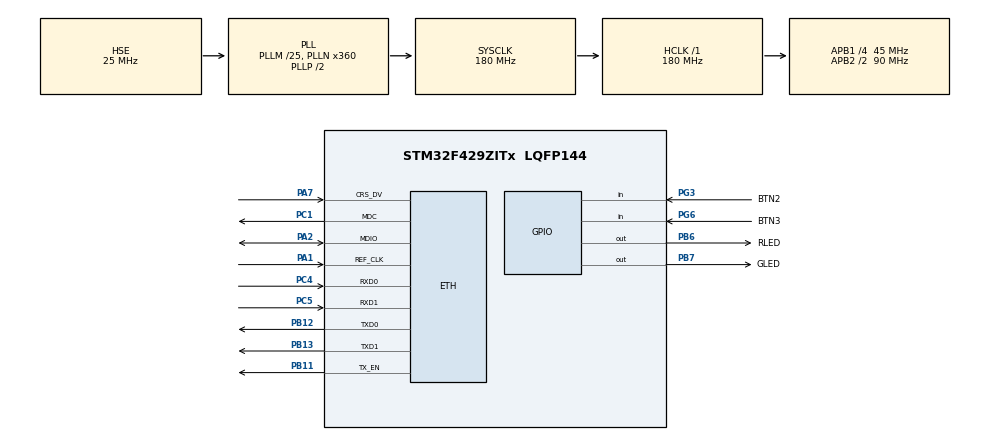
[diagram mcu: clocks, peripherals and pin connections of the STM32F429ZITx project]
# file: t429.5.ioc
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ADC1.Channel-1\#ChannelRegularConversion=ADC_CHANNEL_TEMPSENSOR
ADC1.ContinuousConvMode=DISABLE
ADC1.DMAContinuousRequests=DISABLE
ADC1.NbrOfConversion=1
ADC1.NbrOfConversionFlag=1
ADC1.Rank-1\#ChannelRegularConversion=1
ADC1.SamplingTime-1\#ChannelRegularConversion=ADC_SAMPLETIME_3CYCLES
ADC1.ScanConvMode=DISABLE
ADC1.master=1
ETH.MACAddr=00\:80\:E1\:11\:11\:11
ETH.MediaInterface=ETH_MEDIA_INTERFACE_RMII
FREERTOS.Tasks01=defaultTask,24,1000,StartDefaultTask,Default,NULL,Dynamic,NULL,NULL;myTask02,8,1000,StartTask02,Default,NULL,Dynamic,NULL,NULL;taskTTUdp,8,1000,StartTask03,Default,NULL,Dynamic,NULL,NULL;myTask04,8,1000,StartTask04,Default,NULL,Dynamic,NULL,NULL;myTask05,8,2000,StartTask05,Default,NULL,Dynamic,NULL,NULL
FREERTOS.configMINIMAL_STACK_SIZE=1000
FREERTOS.configTIMER_TASK_STACK_DEPTH=1024
FREERTOS.configTOTAL_HEAP_SIZE=24600
LWIP.GATEWAY_ADDRESS=172.016.027.001
LWIP.IP_ADDRESS=172.016.027.126
LWIP.LWIP_DBG_TYPES_ON=LWIP_DBG_OFF
LWIP.LWIP_DHCP=0
LWIP.MEM_SIZE=4096
LWIP.NETMASK_ADDRESS=255.255.255.000
LWIP.Version=v2.0.3_Cube
Mcu.Family=STM32F4
Mcu.Name=STM32F429ZITx
Mcu.Package=LQFP144
NVIC.ADC_IRQn=true\:5\:0\:false\:false\:true\:true\:true\:true
NVIC.ETH_IRQn=true\:5\:0\:false\:false\:true\:true\:true\:true
NVIC.PriorityGroup=NVIC_PRIORITYGROUP_4
NVIC.TIM2_IRQn=true\:0\:0\:false\:false\:true\:false\:false\:true
NVIC.TimeBase=TIM2_IRQn
NVIC.TimeBaseIP=TIM2
PA1.Mode=RMII
PA1.Signal=ETH_REF_CLK
PA13.Mode=Serial_Wire
PA13.Signal=SYS_JTMS-SWDIO
PA14.Mode=Serial_Wire
PA14.Signal=SYS_JTCK-SWCLK
PA2.Mode=RMII
PA2.Signal=ETH_MDIO
PA7.Mode=RMII
PA7.Signal=ETH_CRS_DV
PB11.Mode=RMII
PB11.Signal=ETH_TX_EN
PB12.Mode=RMII
PB12.Signal=ETH_TXD0
PB13.Mode=RMII
PB13.Signal=ETH_TXD1
PB6.GPIO_Label=RLED
PB6.GPIO_ModeDefaultOutputPP=GPIO_MODE_OUTPUT_PP
PB6.GPIO_PuPd=GPIO_NOPULL
PB6.GPIO_Speed=GPIO_SPEED_FREQ_LOW
PB6.PinState=GPIO_PIN_RESET
PB6.Signal=GPIO_Output
PB7.GPIO_Label=GLED
PB7.GPIO_ModeDefaultOutputPP=GPIO_MODE_OUTPUT_PP
PB7.GPIO_PuPd=GPIO_NOPULL
PB7.GPIO_Speed=GPIO_SPEED_FREQ_LOW
PB7.PinState=GPIO_PIN_RESET
PB7.Signal=GPIO_Output
PC1.Mode=RMII
PC1.Signal=ETH_MDC
PC4.Mode=RMII
PC4.Signal=ETH_RXD0
PC5.Mode=RMII
PC5.Signal=ETH_RXD1
PG3.GPIO_Label=BTN2
PG3.GPIO_Mode=GPIO_MODE_INPUT
PG3.GPIO_PuPd=GPIO_NOPULL
PG3.Signal=GPIO_Input
PG6.GPIO_Label=BTN3
PG6.GPIO_Mode=GPIO_MODE_INPUT
PG6.GPIO_PuPd=GPIO_NOPULL
PG6.Signal=GPIO_Input
PH0/OSC_IN.Mode=HSE-External-Oscillator
PH0/OSC_IN.Signal=RCC_OSC_IN
PH1/OSC_OUT.Mode=HSE-External-Oscillator
PH1/OSC_OUT.Signal=RCC_OSC_OUT
ProjectManager.HeapSize=0x4000
ProjectManager.StackSize=0x1000
ProjectManager.TargetToolchain=Makefile
RCC.48MHZClocksFreq_Value=90000000
RCC.AHBFreq_Value=180000000
RCC.APB1CLKDivider=RCC_HCLK_DIV4
RCC.APB1Freq_Value=45000000
RCC.APB1TimFreq_Value=90000000
RCC.APB2CLKDivider=RCC_HCLK_DIV2
RCC.APB2Freq_Value=90000000
RCC.APB2TimFreq_Value=180000000
RCC.CortexFreq_Value=180000000
RCC.HCLKFreq_Value=180000000
RCC.HSE_VALUE=25000000
RCC.HSI_VALUE=16000000
RCC.LSE_VALUE=32768
RCC.PLLM=25
RCC.PLLN=360
RCC.PLLSourceVirtual=RCC_PLLSOURCE_HSE
RCC.SYSCLKFreq_VALUE=180000000
RCC.SYSCLKSource=RCC_SYSCLKSOURCE_PLLCLK
RCC.VCOOutputFreq_Value=360000000
VP_ADC1_TempSens_Input.Mode=IN-TempSens
VP_FREERTOS_VS_CMSIS_V2.Mode=CMSIS_V2
VP_LWIP_VS_Enabled.Mode=Enabled
VP_SYS_VS_tim2.Mode=TIM2
board=custom

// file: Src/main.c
/* USER CODE BEGIN Header */
/**
  ******************************************************************************
  * @file           : main.c
  * @brief          : Main program body
  ******************************************************************************
  * @attention
  *
  * <h2><center>&copy; Copyright (c) 2019 STMicroelectronics.
  * All rights reserved.</center></h2>
  *
  * This software component is licensed by ST under Ultimate Liberty license
  * SLA0044, the "License"; You may not use this file except in compliance with
  * the License. You may obtain a copy of the License at:
  *                             www.st.com/SLA0044
  *
  ******************************************************************************
  */
/* USER CODE END Header */

#include "main.h"
#include "cmsis_os.h"
#include "adc.h"
#include "lwip.h"
#include "gpio.h"

void SystemClock_Config(void);
void MX_FREERTOS_Init(void);

int main(void)
{

  /* MCU Configuration--------------------------------------------------------*/

  /* Reset of all peripherals, Initializes the Flash interface and the Systick. */
  HAL_Init();

  /* Configure the system clock */
  SystemClock_Config();

  /* Initialize all configured peripherals */
  MX_GPIO_Init();
  MX_ADC1_Init();

  /* Call init function for freertos objects (in freertos.c) */
  MX_FREERTOS_Init();

  /* Start scheduler */
  osKernelStart();

  /* We should never get here as control is now taken by the scheduler */

  /* Infinite loop */
  while (1)
  {

  }
}

void SystemClock_Config(void)
{
  RCC_OscInitTypeDef RCC_OscInitStruct = {0};
  RCC_ClkInitTypeDef RCC_ClkInitStruct = {0};

  /** Configure the main internal regulator output voltage
  */
  __HAL_RCC_PWR_CLK_ENABLE();
  __HAL_PWR_VOLTAGESCALING_CONFIG(PWR_REGULATOR_VOLTAGE_SCALE1);
  /** Initializes the CPU, AHB and APB busses clocks
  */
  RCC_OscInitStruct.OscillatorType = RCC_OSCILLATORTYPE_HSE;
  RCC_OscInitStruct.HSEState = RCC_HSE_ON;
  RCC_OscInitStruct.PLL.PLLState = RCC_PLL_ON;
  RCC_OscInitStruct.PLL.PLLSource = RCC_PLLSOURCE_HSE;
  RCC_OscInitStruct.PLL.PLLM = 25;
  RCC_OscInitStruct.PLL.PLLN = 360;
  RCC_OscInitStruct.PLL.PLLP = RCC_PLLP_DIV2;
  RCC_OscInitStruct.PLL.PLLQ = 4;
  if (HAL_RCC_OscConfig(&RCC_OscInitStruct) != HAL_OK)
  {
    Error_Handler();
  }
  /** Activate the Over-Drive mode
  */
  if (HAL_PWREx_EnableOverDrive() != HAL_OK)
  {
    Error_Handler();
  }
  /** Initializes the CPU, AHB and APB busses clocks
  */
  RCC_ClkInitStruct.ClockType = RCC_CLOCKTYPE_HCLK|RCC_CLOCKTYPE_SYSCLK
                              |RCC_CLOCKTYPE_PCLK1|RCC_CLOCKTYPE_PCLK2;
  RCC_ClkInitStruct.SYSCLKSource = RCC_SYSCLKSOURCE_PLLCLK;
  RCC_ClkInitStruct.AHBCLKDivider = RCC_SYSCLK_DIV1;
  RCC_ClkInitStruct.APB1CLKDivider = RCC_HCLK_DIV4;
  RCC_ClkInitStruct.APB2CLKDivider = RCC_HCLK_DIV2;

  if (HAL_RCC_ClockConfig(&RCC_ClkInitStruct, FLASH_LATENCY_5) != HAL_OK)
  {
    Error_Handler();
  }
}

void HAL_TIM_PeriodElapsedCallback(TIM_HandleTypeDef *htim)
{
  if (htim->Instance == TIM2) {
    HAL_IncTick();
  }
}

void Error_Handler(void)
{
}

/************************ (C) COPYRIGHT STMicroelectronics *****END OF FILE****/

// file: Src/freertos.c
/* USER CODE BEGIN Header */
/**
  ******************************************************************************
  * File Name          : freertos.c
  * Description        : Code for freertos applications
  ******************************************************************************
  * @attention
  *
  * <h2><center>&copy; Copyright (c) 2019 STMicroelectronics.
  * All rights reserved.</center></h2>
  *
  * This software component is licensed by ST under Ultimate Liberty license
  * SLA0044, the "License"; You may not use this file except in compliance with
  * the License. You may obtain a copy of the License at:
  *                             www.st.com/SLA0044
  *
  ******************************************************************************
  */
/* USER CODE END Header */

#include "FreeRTOS.h"
#include "queue.h"
#include "task.h"
#include "main.h"
#include "cmsis_os.h"

/* USER CODE BEGIN Includes */
#include "adc.h"
#include "leds.h"
#include "vismem.h"
#include "tt_udp.h"
#include "ev.h"
/* USER CODE END Includes */

osThreadId_t defaultTaskHandle;
osThreadId_t myTask02Handle;
osThreadId_t taskTTUdpHandle;
osThreadId_t myTask04Handle;

void StartDefaultTask(void *argument);
void StartTask02(void *argument);
void StartTask03(void *argument);
void StartTask04(void *argument);

extern void MX_LWIP_Init(void);
void MX_FREERTOS_Init(void); /* (MISRA C 2004 rule 8.1) */

void MX_FREERTOS_Init(void) {
osKernelInitialize();

  /* USER CODE BEGIN RTOS_QUEUES */
  /* add queues, ... */
  queueEv = xQueueCreate(5, sizeof (int32_t));
  if (queueEv == NULL)
  { // Не возможно создать очередь
    return;
  }

  /* USER CODE END RTOS_QUEUES */

  /* Create the thread(s) */
  /* definition and creation of defaultTask */
  const osThreadAttr_t defaultTask_attributes = {
    .name = "defaultTask",
    .priority = (osPriority_t) osPriorityNormal,
    .stack_size = 1000
  };
  defaultTaskHandle = osThreadNew(StartDefaultTask, NULL, &defaultTask_attributes);

  /* definition and creation of myTask02 */
  const osThreadAttr_t myTask02_attributes = {
    .name = "myTask02",
    .priority = (osPriority_t) osPriorityLow,
    .stack_size = 1000
  };
  myTask02Handle = osThreadNew(StartTask02, NULL, &myTask02_attributes);

  /* definition and creation of taskTTUdp */
  const osThreadAttr_t taskTTUdp_attributes = {
    .name = "taskTTUdp",
    .priority = (osPriority_t) osPriorityLow,
    .stack_size = 1000
  };
  taskTTUdpHandle = osThreadNew(StartTask03, NULL, &taskTTUdp_attributes);

  /* definition and creation of myTask04 */
  const osThreadAttr_t myTask04_attributes = {
    .name = "myTask04",
    .priority = (osPriority_t) osPriorityLow,
    .stack_size = 1000
  };
  myTask04Handle = osThreadNew(StartTask04, NULL, &myTask04_attributes);

}

void StartDefaultTask(void *argument)
{

  /* init code for LWIP */
  MX_LWIP_Init();

  /* USER CODE BEGIN StartDefaultTask */

  /* Infinite loop */
  for(;;)
  {
    HAL_ADC_Start_IT(&hadc1);

    if (HAL_GPIO_ReadPin(BTN2_GPIO_Port, BTN2_Pin) == GPIO_PIN_RESET)
    {
      uint32_t event = ev1_raise;
      xQueueSendToBack(queueEv, &event, 0);
    }

    if (HAL_GPIO_ReadPin(BTN3_GPIO_Port, BTN3_Pin) == GPIO_PIN_RESET)
    {
      uint32_t event = ev2_raise;
      xQueueSendToBack(queueEv, &event, 0);
    }

    osDelay(100);
  }
  /* USER CODE END StartDefaultTask */
}

void StartTask02(void *argument)
{
  /* USER CODE BEGIN StartTask02 */
  vismem();
  /* Infinite loop */
  for(;;)
  {
    osDelay(100);
  }
  /* USER CODE END StartTask02 */
}

void StartTask03(void *argument)
{
  /* USER CODE BEGIN StartTask03 */
  tt_udp();
  /* Infinite loop */
  for(;;)
  {
    osDelay(100);
  }
  /* USER CODE END StartTask03 */
}

void StartTask04(void *argument)
{
  /* USER CODE BEGIN StartTask04 */
  ev_init();
  /* Infinite loop */
  for(;;)
  {
    ev_run();
    taskYIELD();
  }
  /* USER CODE END StartTask04 */
}

/* USER CODE BEGIN Application */
void HAL_ADC_ConvCpltCallback(ADC_HandleTypeDef* hadc)
{
  if(hadc->Instance == ADC1) //check if the interrupt comes from ACD1
  {
    int32_t adc = (int32_t) HAL_ADC_GetValue(&hadc1);
    temperature = (330000 * adc / 4096 - 76000) / 25 + 250;
    // gled_toggle();
  }
}
/* USER CODE END Application */

/************************ (C) COPYRIGHT STMicroelectronics *****END OF FILE****/
